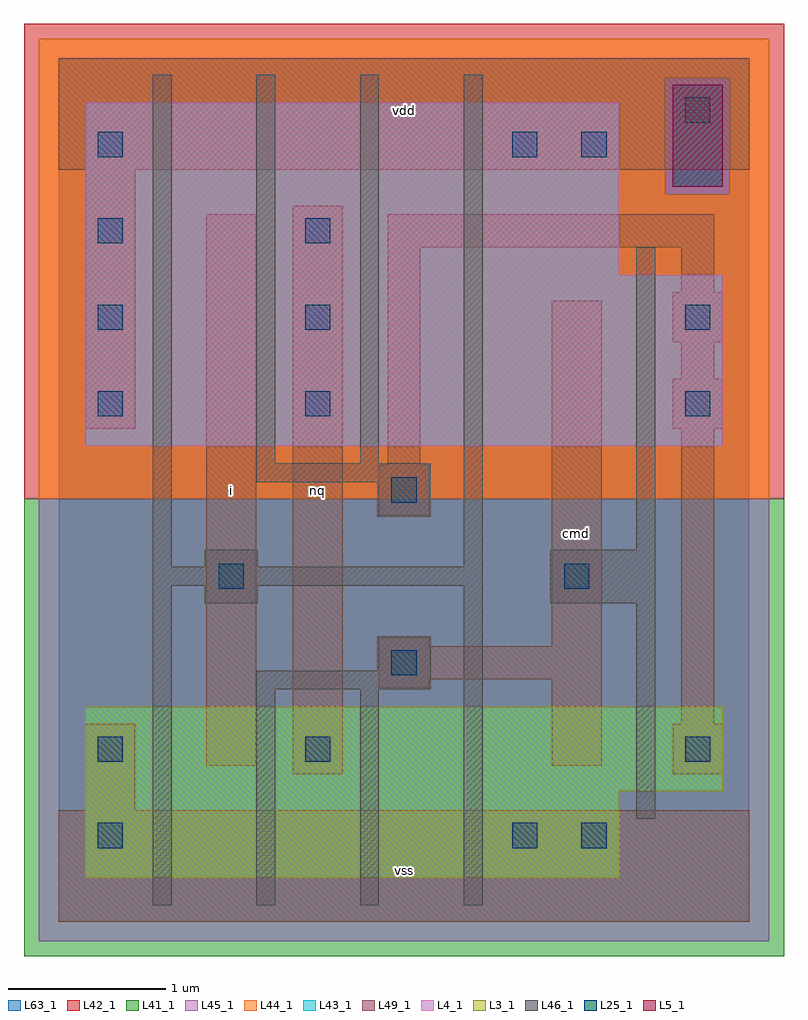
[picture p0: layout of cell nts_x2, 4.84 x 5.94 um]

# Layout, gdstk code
import gdstk
lib = gdstk.Library(unit=1e-6, precision=1e-09)
def R(c, l, rs):  # rectangles x0, y0, x1, y1
    for r in rs: c.add(gdstk.rectangle(r[:2], r[2:], *l))
def A(c, l, x, y, w, h, nx, ny, dx, dy):  # array of equal rectangles
    R(c, l, [(x+i*dx, y+j*dy, x+i*dx+w, y+j*dy+h) for i in range(nx) for j in range(ny)])
L3_1 = (3, 1)
L4_1 = (4, 1)
L5_1 = (5, 1)
L25_1 = (25, 1)
L41_1 = (41, 1)
L42_1 = (42, 1)
L43_1 = (43, 1)
L44_1 = (44, 1)
L45_1 = (45, 1)
L46_1 = (46, 1)
L49_1 = (49, 1)
L63_1 = (63, 1)

nts_x2 = lib.new_cell('nts_x2')
R(nts_x2, L3_1, [(0.17,0.28,3.57,0.83), (0.17,0.83,4.23,1.37)])
R(nts_x2, L4_1, [(0.17,3.03,4.23,4.12), (0.17,4.12,3.57,5.22)])
R(nts_x2, L5_1, [(3.91,4.68,4.23,5.33)])
A(nts_x2, L25_1, 0.25, 3.22, 0.16, 0.16, 1, 4, 0, 0.55)
A(nts_x2, L25_1, 1.57, 3.22, 0.16, 0.16, 1, 3, 0, 0.55)
R(nts_x2, L25_1, [(0.25,0.47,0.41,0.63), (2.89,0.47,3.05,0.63), (3.33,0.47,3.49,0.63), (0.25,1.02,0.41,1.18), (1.57,1.02,1.73,1.18), (3.99,1.02,4.15,1.18), (2.12,1.57,2.28,1.73), (1.02,2.12,1.18,2.28), (3.22,2.12,3.38,2.28), (2.12,2.67,2.28,2.83), (3.99,3.22,4.15,3.38), (3.99,3.77,4.15,3.93), (2.89,4.87,3.05,5.03), (3.33,4.87,3.49,5.03), (3.99,5.09,4.15,5.25)])
R(nts_x2, L41_1, [(-0.22,-0.22,4.62,2.695)])
R(nts_x2, L42_1, [(-0.22,2.695,4.62,5.72)])
R(nts_x2, L43_1, [(0.17,0.28,3.57,0.83), (0.17,0.83,4.23,1.37), (0.17,3.03,4.23,4.12), (0.17,4.12,3.57,5.22), (3.91,4.68,4.23,5.33)])
R(nts_x2, L44_1, [(-0.125,2.695,4.525,4.635), (-0.125,4.635,3.865,5.375), (4.275,4.635,4.525,5.375), (-0.125,5.375,4.525,5.625)])
R(nts_x2, L45_1, [(-0.125,-0.125,4.525,2.695), (3.865,4.635,4.275,5.375)])
R(nts_x2, L46_1, [(0.6,0.105,0.72,2.14), (1.26,0.105,1.38,1.48), (1.92,0.105,2.04,1.48), (2.58,0.105,2.7,2.14), (3.68,0.655,3.8,2.03), (1.26,1.48,2.37,1.6), (2.03,1.6,2.37,1.82), (0.93,2.03,1.27,2.14), (3.13,2.03,3.8,2.37), (0.6,2.14,2.7,2.26), (0.6,2.26,0.72,5.395), (0.93,2.26,1.27,2.37), (2.58,2.26,2.7,5.395), (3.68,2.37,3.8,4.295), (2.03,2.58,2.37,2.8), (1.26,2.8,2.37,2.92), (1.26,2.92,1.38,5.395), (1.92,2.92,2.04,5.395)])
R(nts_x2, L49_1, [(0,0,4.4,0.71), (0.17,0.71,0.49,1.26), (1.49,0.94,1.81,4.56), (3.91,0.94,4.23,1.26), (0.94,0.995,1.26,4.505), (3.14,0.995,3.46,1.545), (3.965,1.26,4.175,3.14), (2.04,1.49,2.36,1.545), (2.04,1.545,3.46,1.755), (2.04,1.755,2.36,1.81), (3.14,1.755,3.46,3.955), (2.04,2.59,2.36,2.91), (2.095,2.91,2.305,4.295), (0.17,3.14,0.49,4.79), (3.91,3.14,4.23,3.46), (3.965,3.46,4.175,3.69), (3.91,3.69,4.23,4.01), (3.965,4.01,4.175,4.295), (2.095,4.295,4.175,4.505), (0,4.79,4.4,5.5)])
R(nts_x2, L63_1, [(0,0,4.4,5.5)])
nts_x2.add(gdstk.Label('nq', (1.65,2.75), layer=49, texttype=1))
nts_x2.add(gdstk.Label('nq', (1.65,2.75), layer=49, texttype=1))
nts_x2.add(gdstk.Label('i', (1.1,2.75), layer=49, texttype=1))
nts_x2.add(gdstk.Label('i', (1.1,2.75), layer=49, texttype=1))
nts_x2.add(gdstk.Label('vss', (2.2,0.33), layer=49, texttype=1))
nts_x2.add(gdstk.Label('vss', (2.2,0.33), layer=49, texttype=1))
nts_x2.add(gdstk.Label('cmd', (3.3,2.475), layer=49, texttype=1))
nts_x2.add(gdstk.Label('cmd', (3.3,2.475), layer=49, texttype=1))
nts_x2.add(gdstk.Label('vdd', (2.2,5.17), layer=49, texttype=1))
nts_x2.add(gdstk.Label('vdd', (2.2,5.17), layer=49, texttype=1))

lib.write_gds('nts_x2.gds')
